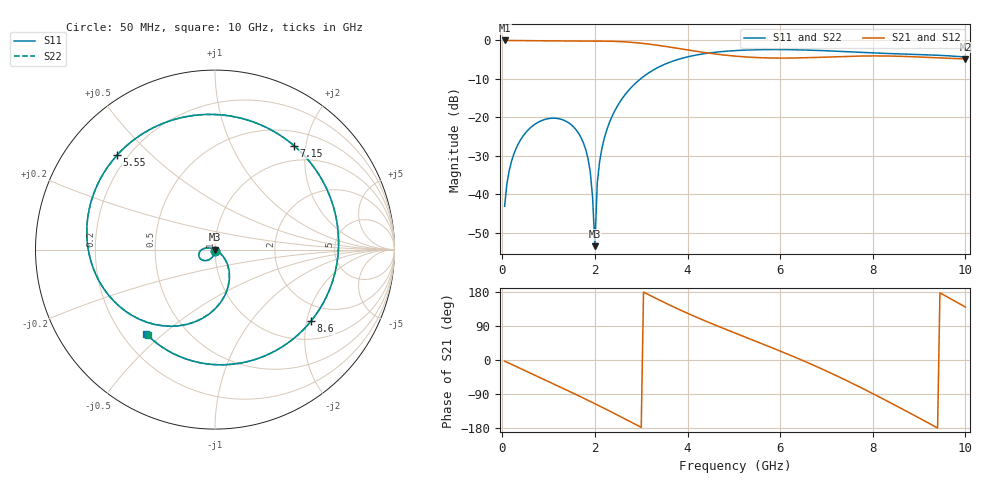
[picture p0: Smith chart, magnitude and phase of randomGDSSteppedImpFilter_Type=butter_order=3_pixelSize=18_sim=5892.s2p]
! freq	dB(S11)	phase(S11)	dB(S12)	phase(S12)
!  dB(S21)	phase(S21)	dB(S22)	phase(S22)
!S-par simulation data
#  GHz  S  DB  R 50
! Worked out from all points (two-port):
!   200 points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, 50 MHz to 10 GHz, reference 50 ohm
!   highest |S21| = 0.00 dB at 50 MHz (marker M1); lowest = -4.8 dB at 10 GHz (marker M2)
!   |S21| within 3 dB of the highest: start of sweep to 4.286 GHz
!   lowest |S11| = -53.5 dB at 2 GHz (marker M3), VSWR 1.00, Z = 50.2 - j0.0326 ohm
!   |S11| at or under -10 dB: start of sweep to 2.984 GHz
!   |S22| runs from -52.4 to -2.4 dB; largest |S21 - S12| = 0
!   S11 on the Smith chart (normalised r, x): 50 MHz: 1.00, -0.01; 5.55 GHz: 0.16, +0.39; 7.15 GHz: 0.73, +1.78; 8.6 GHz: 1.48, -2.13; 10 GHz: 0.30, -0.44
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0.05  -43.15 -91.5  -0.00 -2.9  -0.00 -2.9  -43.15 -91.4
0.25  -29.53 -104.4  -0.03 -14.4  -0.03 -14.4  -29.53 -104.3
0.65  -22.29 -127.9  -0.07 -37.2  -0.07 -37.2  -22.28 -127.8
1.3  -20.63 -165.2  -0.12 -74.2  -0.12 -74.2  -20.63 -164.9
1.75  -26.60 168.4  -0.12 -100.4  -0.12 -100.4  -26.60 169.5
1.9  -34.22 159.1  -0.13 -109.3  -0.13 -109.3  -34.20 162.2
1.95  -40.90 155.3  -0.13 -112.3  -0.13 -112.3  -40.84 162.3
2  -53.53 -8.9  -0.13 -115.3  -0.13 -115.3  -52.44 -65.1
2.05  -37.20 -28.3  -0.14 -118.3  -0.14 -118.3  -37.20 -33.3
2.1  -31.65 -31.8  -0.15 -121.4  -0.15 -121.4  -31.65 -34.5
2.3  -21.78 -44.4  -0.19 -133.7  -0.19 -133.7  -21.78 -45.4
2.85  -11.44 -79.0  -0.55 -168.2  -0.55 -168.2  -11.44 -79.4
3.4  -6.80 -112.9  -1.33 157.7  -1.33 157.7  -6.80 -113.1
4.15  -3.89 -155.0  -2.76 115.3  -2.76 115.3  -3.89 -155.2
5.05  -2.63 160.1  -4.10 69.9  -4.10 69.9  -2.63 160.1
5.55  -2.41 136.1  -4.48 45.7  -4.48 45.7  -2.41 136.1
6.7  -2.55 77.8  -4.45 -12.6  -4.45 -12.6  -2.55 78.0
7.15  -2.77 52.8  -4.26 -37.7  -4.26 -37.7  -2.76 53.0
8.35  -3.41 -20.5  -4.06 -110.8  -4.06 -110.8  -3.41 -19.9
8.6  -3.52 -36.6  -4.13 -126.9  -4.13 -126.9  -3.51 -35.9
9.3  -3.80 -82.4  -4.48 -172.8  -4.48 -172.8  -3.80 -81.5
10  -4.35 -129.0  -4.79 139.6  -4.79 139.6  -4.34 -128.0
